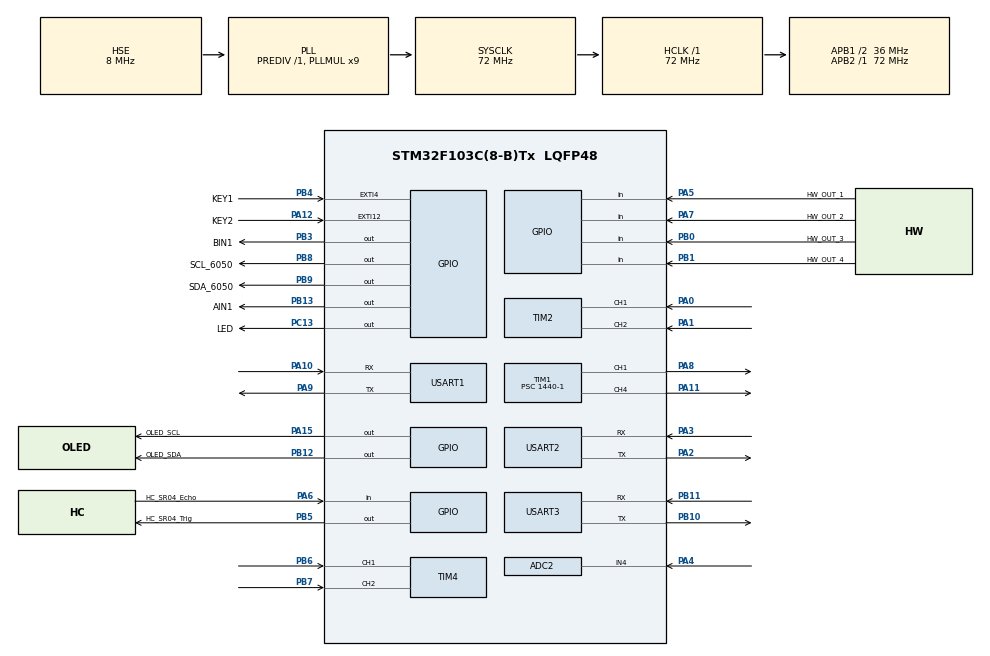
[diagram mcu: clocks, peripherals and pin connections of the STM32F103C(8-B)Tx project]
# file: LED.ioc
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ADC2.Channel-0\#ChannelRegularConversion=ADC_CHANNEL_4
ADC2.NbrOfConversionFlag=1
ADC2.Rank-0\#ChannelRegularConversion=1
ADC2.SamplingTime-0\#ChannelRegularConversion=ADC_SAMPLETIME_13CYCLES_5
Mcu.Family=STM32F1
Mcu.Name=STM32F103C(8-B)Tx
Mcu.Package=LQFP48
NVIC.EXTI15_10_IRQn=true\:2\:0\:true\:false\:true\:true\:true\:true
NVIC.EXTI4_IRQn=true\:2\:0\:true\:false\:true\:true\:true\:true
NVIC.PriorityGroup=NVIC_PRIORITYGROUP_4
NVIC.TIM1_UP_IRQn=true\:0\:0\:false\:false\:true\:true\:true\:true
NVIC.TIM2_IRQn=true\:0\:0\:false\:false\:true\:true\:true\:true
NVIC.TIM4_IRQn=true\:0\:0\:false\:false\:true\:true\:true\:true
NVIC.USART1_IRQn=true\:0\:0\:false\:false\:true\:true\:true\:true
NVIC.USART2_IRQn=true\:0\:0\:false\:false\:true\:true\:true\:true
NVIC.USART3_IRQn=true\:0\:0\:false\:false\:true\:true\:true\:true
PA0-WKUP.GPIO_PuPd=GPIO_PULLUP
PA0-WKUP.Signal=S_TIM2_CH1_ETR
PA1.GPIO_PuPd=GPIO_PULLUP
PA1.Signal=S_TIM2_CH2
PA10.Mode=Asynchronous
PA10.Signal=USART1_RX
PA11.Signal=S_TIM1_CH4
PA12.GPIO_Label=KEY2
PA12.GPIO_ModeDefaultEXTI=GPIO_MODE_IT_FALLING
PA12.GPIO_PuPd=GPIO_PULLUP
PA12.Signal=GPXTI12
PA13.Mode=Serial_Wire
PA13.Signal=SYS_JTMS-SWDIO
PA14.Mode=Serial_Wire
PA14.Signal=SYS_JTCK-SWCLK
PA15.GPIO_Label=OLED_SCL
PA15.GPIO_PuPd=GPIO_PULLUP
PA15.PinState=GPIO_PIN_SET
PA15.Signal=GPIO_Output
PA2.Mode=Asynchronous
PA2.Signal=USART2_TX
PA3.Mode=Asynchronous
PA3.Signal=USART2_RX
PA4.Signal=ADCx_IN4
PA5.GPIO_Label=HW_OUT_1
PA5.Signal=GPIO_Input
PA6.GPIO_Label=HC_SR04_Echo
PA6.Signal=GPIO_Input
PA7.GPIO_Label=HW_OUT_2
PA7.Signal=GPIO_Input
PA8.Signal=S_TIM1_CH1
PA9.Mode=Asynchronous
PA9.Signal=USART1_TX
PB0.GPIO_Label=HW_OUT_3
PB0.Signal=GPIO_Input
PB1.GPIO_Label=HW_OUT_4
PB1.Signal=GPIO_Input
PB10.Mode=Asynchronous
PB10.Signal=USART3_TX
PB11.Mode=Asynchronous
PB11.Signal=USART3_RX
PB12.GPIO_Label=OLED_SDA
PB12.GPIO_PuPd=GPIO_PULLUP
PB12.PinState=GPIO_PIN_SET
PB12.Signal=GPIO_Output
PB13.GPIO_Label=AIN1
PB13.Signal=GPIO_Output
PB3.GPIO_Label=BIN1
PB3.Signal=GPIO_Output
PB4.GPIO_Label=KEY1
PB4.GPIO_ModeDefaultEXTI=GPIO_MODE_IT_RISING
PB4.GPIO_PuPd=GPIO_PULLDOWN
PB4.Signal=GPXTI4
PB5.GPIO_Label=HC_SR04_Trig
PB5.Signal=GPIO_Output
PB6.GPIO_PuPd=GPIO_PULLUP
PB6.Signal=S_TIM4_CH1
PB7.GPIO_PuPd=GPIO_PULLUP
PB7.Signal=S_TIM4_CH2
PB8.GPIO_Label=SCL_6050
PB8.PinState=GPIO_PIN_SET
PB8.Signal=GPIO_Output
PB9.GPIO_Label=SDA_6050
PB9.PinState=GPIO_PIN_SET
PB9.Signal=GPIO_Output
PC13-TAMPER-RTC.GPIO_Label=LED
PC13-TAMPER-RTC.Signal=GPIO_Output
PD0-OSC_IN.Mode=HSE-External-Oscillator
PD0-OSC_IN.Signal=RCC_OSC_IN
PD1-OSC_OUT.Mode=HSE-External-Oscillator
PD1-OSC_OUT.Signal=RCC_OSC_OUT
ProjectManager.HeapSize=0x800
ProjectManager.StackSize=0x800
ProjectManager.TargetToolchain=MDK-ARM V5.32
RCC.ADCPresc=RCC_ADCPCLK2_DIV6
RCC.AHBFreq_Value=72000000
RCC.APB1CLKDivider=RCC_HCLK_DIV2
RCC.APB1Freq_Value=36000000
RCC.APB1TimFreq_Value=72000000
RCC.APB2Freq_Value=72000000
RCC.APB2TimFreq_Value=72000000
RCC.HCLKFreq_Value=72000000
RCC.PLLMUL=RCC_PLL_MUL9
RCC.PLLSourceVirtual=RCC_PLLSOURCE_HSE
RCC.SYSCLKFreq_VALUE=72000000
RCC.SYSCLKSource=RCC_SYSCLKSOURCE_PLLCLK
RCC.USBFreq_Value=72000000
SH.ADCx_IN4.0=ADC2_IN4,IN4
SH.S_TIM1_CH1.0=TIM1_CH1,PWM Generation1 CH1
SH.S_TIM1_CH4.0=TIM1_CH4,PWM Generation4 CH4
SH.S_TIM2_CH1_ETR.0=TIM2_CH1,Encoder_Interface
SH.S_TIM2_CH2.0=TIM2_CH2,Encoder_Interface
SH.S_TIM4_CH1.0=TIM4_CH1,Encoder_Interface
SH.S_TIM4_CH2.0=TIM4_CH2,Encoder_Interface
TIM1.AutoReloadPreload=TIM_AUTORELOAD_PRELOAD_ENABLE
TIM1.Channel-PWM\ Generation1\ CH1=TIM_CHANNEL_1
TIM1.Channel-PWM\ Generation4\ CH4=TIM_CHANNEL_4
TIM1.Period=100-1
TIM1.Prescaler=1440-1
TIM1.Pulse-PWM\ Generation1\ CH1=50
TIM1.Pulse-PWM\ Generation4\ CH4=50
TIM2.EncoderMode=TIM_ENCODERMODE_TI12
TIM2.IC1Filter=6
TIM2.IC2Filter=6
TIM4.EncoderMode=TIM_ENCODERMODE_TI12
TIM4.IC1Filter=6
TIM4.IC2Filter=6
USART1.VirtualMode=VM_ASYNC
USART2.VirtualMode=VM_ASYNC
USART3.VirtualMode=VM_ASYNC
VP_TIM1_VS_ClockSourceINT.Mode=Internal
board=custom

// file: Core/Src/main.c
/* USER CODE BEGIN Header */
/**
  ******************************************************************************
  * @file           : main.c
  * @brief          : Main program body
  ******************************************************************************
  * @attention
  *
  * Copyright (c) 2022 STMicroelectronics.
  * All rights reserved.
  *
  * This software is licensed under terms that can be found in the LICENSE file
  * in the root directory of this software component.
  * If no LICENSE file comes with this software, it is provided AS-IS.
  *
  ******************************************************************************
  */
/**
  ******************************************************************************
  * 作者:好家伙VCC
  * 联系方式:1930299709@qq.com
  * 软件版本:V3.3.0
  *	使用硬件版本:V3.3.0
  *
  ******************************************************************************
  * 更新日志:
  *
  *
  *
  ******************************************************************************
  */
/* USER CODE END Header */
#include "main.h"
#include "adc.h"
#include "tim.h"
#include "usart.h"
#include "gpio.h"

/* USER CODE BEGIN Includes */
#include "oled.h"
#include "stdio.h"
#include "motor.h"
#include "niming.h"
#include "pid.h"

#include "cJSON.h"
#include <string.h>
#include "HC_SR04.h"

#include "mpu6050.h"
#include "inv_mpu.h"
#include "inv_mpu_dmp_motion_driver.h"
/* USER CODE END Includes */

/* USER CODE BEGIN PM */
extern float Motor1Speed ;//声明电机1速度
extern float Motor2Speed ;//声明电机2速度

extern tPid pidMotor1Speed;//声明电机1PID速度控制结构体类型变量
extern tPid pidMotor2Speed;
extern tPid pidFollow;    //定距离跟随PID
extern tPid pidMPU6050YawMovement;  //利用6050偏航角 进行姿态控制的PID
extern uint8_t Usart1_ReadBuf[255];	//串口1 缓冲数组
float p,i,d,a,b;//使用JSON时候使用的变量
uint8_t OledString[50];//OLED显示使用的字符串数组
extern float Mileage;//里程数

extern tPid pidHW_Tracking;//红外循迹的PID
extern tPid pidOpenmv_Tracking;//摄像头的PID

uint8_t g_ucaHW_Read[4] = {0};//保存红外对管电平的数组
int8_t g_cThisState = 0;//这次状态
int8_t g_cLastState = 0; //上次状态
float g_fHW_PID_Out;//红外对管PID计算输出速度
float g_fHW_PID_Out1;//电机1的最后循迹PID控制速度
float g_fHW_PID_Out2;//电机2的最后循迹PID控制速度

uint8_t g_ucUsart3ReceiveData;  //保存串口三接收的数据
uint8_t g_ucUsart2ReceiveData;  //保存串口二接收的数据

uint8_t Usart3String[50];//串口三输出字符串使用的字符串数组
float g_fHC_SR04_Read;//超声波传感器读取障碍物数据
float g_fFollow_PID_Out;//定距离跟随PID计算输出速度

float pitch,roll,yaw; //俯仰角 横滚角 航向角

float  g_fMPU6050YawMovePidOut = 0.00f; //姿态PID运算输出
float  g_fMPU6050YawMovePidOut1 = 0.00f; //第一个电机控制输出
float  g_fMPU6050YawMovePidOut2 = 0.00f; //第一个电机控制输出

uint8_t g_ucMode = 0;

extern int g_lHW_State;//帮助视觉调试 用于表示红外对管或者视觉摄像头识别状态

//小车运动模式标志位 0:显示功能、1:PID循迹模式、2:手机遥控普通运动模式、3.超声波避障模式、4:PID跟随模式、5:遥控角度闭环
/* USER CODE END PM */

void SystemClock_Config(void);

int main(void)
{

  /* MCU Configuration--------------------------------------------------------*/

  /* Reset of all peripherals, Initializes the Flash interface and the Systick. */
  HAL_Init();

  /* Configure the system clock */
  SystemClock_Config();

  /* Initialize all configured peripherals */
  MX_GPIO_Init();
  MX_USART1_UART_Init();
  MX_TIM1_Init();
  MX_TIM2_Init();
  MX_TIM4_Init();
  MX_ADC2_Init();
  MX_USART3_UART_Init();
  MX_USART2_UART_Init();
  /* USER CODE BEGIN 2 */
  OLED_Init();			//初始化OLED
  OLED_Clear()  	;
  HAL_TIM_PWM_Start(&htim1,TIM_CHANNEL_1);//开启定时器1 通道1 PWM输出
  HAL_TIM_PWM_Start(&htim1,TIM_CHANNEL_4);//开启定时器1 通道4 PWM输出
  HAL_TIM_Encoder_Start(&htim2,TIM_CHANNEL_ALL);//开启定时器2
  HAL_TIM_Encoder_Start(&htim4,TIM_CHANNEL_ALL);//开启定时器4
  HAL_TIM_Base_Start_IT(&htim2);				//开启定时器2 中断
  HAL_TIM_Base_Start_IT(&htim4);                //开启定时器4 中断

  HAL_TIM_Base_Start_IT(&htim1);                //开启定时器1 中断
  __HAL_UART_ENABLE_IT(&huart1,UART_IT_RXNE);	//开启串口1接收中断
  PID_init();//PID参数初始化
  HAL_UART_Receive_IT(&huart3,&g_ucUsart3ReceiveData,1);  //串口三接收数据

  HAL_UART_Receive_IT(&huart2,&g_ucUsart2ReceiveData,1);  //串口二接收数据

  HAL_Delay(500);//延时0.5秒 6050上电稳定后初始化

  MPU_Init(); //初始化MPU6050

  __HAL_UART_ENABLE_IT(&huart2, UART_IT_ERR);// 启用UART2的错误中断功能

//  while(MPU_Init()!=0);//初始化MPU6050模块的MPU 注意初始化阶段不要移动小车
//  while(mpu_dmp_init()!=0);//mpu6050,dmp初始化

//  cJSON *cJsonData ,*cJsonVlaue;
  /* USER CODE END 2 */

  /* Infinite loop */
  while (1)
  {

    /* USER CODE BEGIN 3 */
	sprintf((char *)OledString," g_ucMode:%d",g_ucMode);//显示g_ucMode 当前模式
	OLED_ShowString(0,6,OledString,12);	//显示在OLED上

	sprintf((char *)Usart3String," g_ucMode:%d",g_ucMode);//蓝牙APP显示
	HAL_UART_Transmit(&huart3,( uint8_t *)Usart3String,strlen(( const  char  *)Usart3String),50);//阻塞式发送通过串口三输出字符 strlen:计算字符串大小

	if(g_ucMode == 0)
	{
	//0LED显示功能
		sprintf((char*)OledString, "V1:%.2fV2:%.2f", Motor1Speed,Motor2Speed);//显示速度
		OLED_ShowString(0,0,OledString,12);//这个是oled驱动里面的，是显示位置的一个函数，

		sprintf((char*)OledString, "Mileage:%.2f", Mileage);//显示里程
		OLED_ShowString(0,1,OledString,12);//这个是oled驱动里面的，是显示位置的一个函数，

		sprintf((char*)OledString, "U:%.2fV", adcGetBatteryVoltage());//显示电池电压
		OLED_ShowString(0,2,OledString,12);//这个是oled驱动里面的，是显示位置的一个函数，

		sprintf((char *)OledString,"HC_SR04:%.2fcm\r\n",HC_SR04_Read());//显示超声波数据
		OLED_ShowString(0,3,OledString,12);//这个是oled驱动里面的，是显示位置的一个函数，

		sprintf((char *)OledString,"p:%.2f r:%.2f \r\n",pitch,roll);//显示6050数据 俯仰角 横滚角
		OLED_ShowString(0,4,OledString,12);//这个是oled驱动里面的，是显示位置的一个函数，

		sprintf((char *)OledString,"y:%.2f  \r\n",yaw);//显示6050数据  航向角
		OLED_ShowString(0,5,OledString,12);//这个是oled驱动里面的，是显示位置的一个函数，

	//蓝牙APP显示
		sprintf((char*)Usart3String, "V1:%.2fV2:%.2f", Motor1Speed,Motor2Speed);//显示速度
		HAL_UART_Transmit(&huart3,( uint8_t *)Usart3String,strlen(( const  char  *)Usart3String),50);//阻塞式发送通过串口三输出字符 strlen:计算字符串大小
		//阻塞方式发送可以保证数据发送完毕，中断发送不一定可以保证数据已经发送完毕才启动下一次发送
		sprintf((char*)Usart3String, "Mileage:%.2f", Mileage);//显示里程
		HAL_UART_Transmit(&huart3,( uint8_t *)Usart3String,strlen(( const  char  *)Usart3String),50);//阻塞式发送通过串口三输出字符 strlen:计算字符串大小

		sprintf((char*)Usart3String, "U:%.2fV", adcGetBatteryVoltage());//显示电池电压
		HAL_UART_Transmit(&huart3,( uint8_t *)Usart3String,strlen(( const  char  *)Usart3String),50);//阻塞式发送通过串口三输出字符 strlen:计算字符串大小

		sprintf((char *)Usart3String,"HC_SR04:%.2fcm\r\n",HC_SR04_Read());//显示超声波数据
		HAL_UART_Transmit(&huart3,( uint8_t *)Usart3String,strlen(( const  char  *)Usart3String),50);//阻塞式发送通过串口三输出字符 strlen:计算字符串大小

		sprintf((char *)Usart3String,"p:%.2f r:%.2f \r\n",pitch,roll);//显示6050数据 俯仰角 横滚角
		HAL_UART_Transmit(&huart3,( uint8_t *)Usart3String,strlen(( const  char  *)Usart3String),50);//阻塞式发送通过串口三输出字符 strlen:计算字符串大小

		sprintf((char *)Usart3String,"y:%.2f  \r\n",yaw);//显示6050数据  航向角
		HAL_UART_Transmit(&huart3,( uint8_t *)Usart3String,strlen(( const  char  *)Usart3String),50);//阻塞式发送通过串口三输出字符 strlen:计算字符串大小

		//获得6050数据
//		while(mpu_dmp_get_data(&pitch,&roll,&yaw)!=0){}  //这个可以解决经常读不出数据的问题

		//在显示模式电机停转 设置小车速度为0
		motorPidSetSpeed(0,0);
	}
	if(g_ucMode == 1)
	{
	///****    红外PID循迹功能******************/
	g_ucaHW_Read[0] = READ_HW_OUT_1;//读取红外对管状态、这样相比于写在if里面更高效
	g_ucaHW_Read[1] = READ_HW_OUT_2;
	g_ucaHW_Read[2] = READ_HW_OUT_3;
	g_ucaHW_Read[3] = READ_HW_OUT_4;

	if(g_ucaHW_Read[0] == 0&&g_ucaHW_Read[1] == 0&&g_ucaHW_Read[2] == 0&&g_ucaHW_Read[3] == 0 )
	{
//		printf("应该前进\r\n");//注释掉更加高效，减少无必要程序执行
		g_cThisState = 0;//前进
	}
	else if(g_ucaHW_Read[0] == 0&&g_ucaHW_Read[1] == 1&&g_ucaHW_Read[2] == 0&&g_ucaHW_Read[3] == 0 )//使用else if更加合理高效
	{
//		printf("应该右转\r\n");
		g_cThisState = -1;//应该右转
	}
	else if(g_ucaHW_Read[0] == 1&&g_ucaHW_Read[1] == 0&&g_ucaHW_Read[2] == 0&&g_ucaHW_Read[3] == 0 )
	{
//		printf("快速右转\r\n");
		g_cThisState = -2;//快速右转
	}
	else if(g_ucaHW_Read[0] == 1&&g_ucaHW_Read[1] == 1&&g_ucaHW_Read[2] == 0&&g_ucaHW_Read[3] == 0)
	{
//		printf("快速右转\r\n");
		g_cThisState = -3;//快速右转
	}
	else if(g_ucaHW_Read[0] == 0&&g_ucaHW_Read[1] == 0&&g_ucaHW_Read[2] == 1&&g_ucaHW_Read[3] == 0 )
	{
//		printf("应该左转\r\n");
		g_cThisState = 1;//应该左转
	}
	else if(g_ucaHW_Read[0] == 0&&g_ucaHW_Read[1] == 0&&g_ucaHW_Read[2] == 0&&g_ucaHW_Read[3] == 1 )
	{
//		printf("快速左转\r\n");
		g_cThisState = 2;//快速左转
	}
	else if(g_ucaHW_Read[0] == 0&&g_ucaHW_Read[1] == 0&&g_ucaHW_Read[2] == 1&&g_ucaHW_Read[3] == 1)
	{
//	    printf("快速左转\r\n");
		g_cThisState = 3;//快速左转
	}
	g_fHW_PID_Out = PID_realize(&pidHW_Tracking,g_cThisState);//PID计算输出目标速度 这个速度，会和基础速度加减

	g_fHW_PID_Out1 = 3 + g_fHW_PID_Out;//电机1速度=基础速度+循迹PID输出速度
	g_fHW_PID_Out2 = 3 - g_fHW_PID_Out;//电机1速度=基础速度-循迹PID输出速度
	if(g_fHW_PID_Out1 >5) g_fHW_PID_Out1 =5;//进行限幅 限幅速度在0-5之间
	if(g_fHW_PID_Out1 <0) g_fHW_PID_Out1 =0;
	if(g_fHW_PID_Out2 >5) g_fHW_PID_Out2 =5;//进行限幅 限幅速度在0-5之间
	if(g_fHW_PID_Out2 <0) g_fHW_PID_Out2 =0;
	if(g_cThisState != g_cLastState)//如何这次状态不等于上次状态、就进行改变目标速度和控制电机、在定时器中依旧定时控制电机
	{
		motorPidSetSpeed(g_fHW_PID_Out1,g_fHW_PID_Out2);//通过计算的速度控制电机
	}

	g_cLastState = g_cThisState;//保存上次红外对管状态

	}
	if(g_ucMode == 2)
	{

		//***************遥控模式***********************//
		//遥控模式的控制在串口三的中断里面
	}
	if(g_ucMode == 3)
	{
		//******超声波避障模式*********************//
////避障逻辑
		if(HC_SR04_Read() > 25)//前方无障碍物
		{
			motorPidSetSpeed(1,1);//前运动
			HAL_Delay(100);
		}
		else{	//前方有障碍物
			motorPidSetSpeed(-1,1);//右边运动 原地
			HAL_Delay(500);
			if(HC_SR04_Read() > 25)//右边无障碍物
			{
				motorPidSetSpeed(1,1);//前运动
				HAL_Delay(100);
			}
			else{//右边有障碍物
				motorPidSetSpeed(1,-1);//左边运动 原地
				HAL_Delay(1000);
				if(HC_SR04_Read() >25)//左边无障碍物
				{
					 motorPidSetSpeed(1,1);//前运动
					HAL_Delay(100);
				}
				else{
					motorPidSetSpeed(-1,-1);//后运动
					HAL_Delay(1000);
					motorPidSetSpeed(-1,1);//右边运动
					HAL_Delay(50);
				}
			}
		}
	}
	if(g_ucMode == 4)
	{
	//**********PID跟随功能***********//
		g_fHC_SR04_Read=HC_SR04_Read();//读取前方障碍物距离
		if(g_fHC_SR04_Read < 60){  //如果前60cm 有东西就启动跟随
			g_fFollow_PID_Out = PID_realize(&pidFollow,g_fHC_SR04_Read);//PID计算输出目标速度 这个速度，会和基础速度加减
			if(g_fFollow_PID_Out > 6) g_fFollow_PID_Out = 6;//对输出速度限幅
			if(g_fFollow_PID_Out < -6) g_fFollow_PID_Out = -6;
			motorPidSetSpeed(g_fFollow_PID_Out,g_fFollow_PID_Out);//速度作用与电机上
		}
		else motorPidSetSpeed(0,0);//如果前面60cm 没有东西就停止
		HAL_Delay(10);//读取超声波传感器不能过快
	}
	if(g_ucMode == 5)
	{
	//*************MPU6050航向角 PID转向控制*****************//

		sprintf((char *)Usart3String,"pitch:%.2f roll:%.2f yaw:%.2f\r\n",pitch,roll,yaw);//显示6050数据 俯仰角 横滚角 航向角
		HAL_UART_Transmit(&huart3,( uint8_t *)Usart3String,strlen(( const  char  *)Usart3String),0xFFFF);//通过串口三输出字符 strlen:计算字符串大小

//	    mpu_dmp_get_data(&pitch,&roll,&yaw);//返回值:0,DMP成功解出欧拉角
//		while(mpu_dmp_get_data(&pitch,&roll,&yaw)!=0){}  //这个可以解决经常读不出数据的问题

		g_fMPU6050YawMovePidOut = PID_realize(&pidMPU6050YawMovement,yaw);//PID计算输出目标速度 这个速度，会和基础速度加减

		g_fMPU6050YawMovePidOut1 = 1.5 + g_fMPU6050YawMovePidOut;//基础速度加减PID输出速度
		g_fMPU6050YawMovePidOut2 = 1.5 - g_fMPU6050YawMovePidOut;
		if(g_fMPU6050YawMovePidOut1 >3.5) g_fMPU6050YawMovePidOut1 =3.5;//进行限幅
		if(g_fMPU6050YawMovePidOut1 <0) g_fMPU6050YawMovePidOut1 =0;
		if(g_fMPU6050YawMovePidOut2 >3.5) g_fMPU6050YawMovePidOut2 =3.5;//进行限幅
		if(g_fMPU6050YawMovePidOut2 <0) g_fMPU6050YawMovePidOut2 =0;
		motorPidSetSpeed(g_fMPU6050YawMovePidOut1,g_fMPU6050YawMovePidOut2);//将最后计算的目标速度 通过motorPidSetSpeed控制电机

	}
	if(g_ucMode == 6)
	{

		sprintf((char*)OledString, "lHW:%d  ", g_lHW_State);//视觉识别结果
		OLED_ShowString(0,0,OledString,12);//这个是oled驱动里面的，是显示位置的一个函数，

		g_fHW_PID_Out = PID_realize(&pidOpenmv_Tracking,g_cThisState);//PID计算输出目标速度 这个速度，会和基础速度加减

		g_fHW_PID_Out1 = 0.5 + g_fHW_PID_Out;//电机1速度=基础速度+循迹PID输出速度
		g_fHW_PID_Out2 = 0.5 - g_fHW_PID_Out;//电机1速度=基础速度-循迹PID输出速度
		if(g_fHW_PID_Out1 >1.2) g_fHW_PID_Out1 =1.2;//进行限幅 限幅速度在0-1.2之间
		if(g_fHW_PID_Out1 <0) g_fHW_PID_Out1 =0;
		if(g_fHW_PID_Out2 >1.2) g_fHW_PID_Out2 =1.2;//进行限幅 限幅速度在0-1.2之间
		if(g_fHW_PID_Out2 <0) g_fHW_PID_Out2 =0;
		if(g_cThisState != g_cLastState)//如何这次状态不等于上次状态、就进行改变目标速度和控制电机、在定时器中依旧定时控制电机
		{
			motorPidSetSpeed(g_fHW_PID_Out1,g_fHW_PID_Out2);//通过计算的速度控制电机
		}

		g_cLastState = g_cThisState;//保存上次红外对管状态

	}

   }

///****    红外PID循迹功能******************/
//	g_ucaHW_Read[0] = READ_HW_OUT_1;//读取红外对管状态、这样相比于写在if里面更高效
//	g_ucaHW_Read[1] = READ_HW_OUT_2;
//	g_ucaHW_Read[2] = READ_HW_OUT_3;
//	g_ucaHW_Read[3] = READ_HW_OUT_4;

//	if(g_ucaHW_Read[0] == 0&&g_ucaHW_Read[1] == 0&&g_ucaHW_Read[2] == 0&&g_ucaHW_Read[3] == 0 )
//	{
////		printf("应该前进\r\n");//注释掉更加高效，减少无必要程序执行
//		g_cThisState = 0;//前进
//	}
//	else if(g_ucaHW_Read[0] == 0&&g_ucaHW_Read[1] == 1&&g_ucaHW_Read[2] == 0&&g_ucaHW_Read[3] == 0 )//使用else if更加合理高效
//	{
////		printf("应该右转\r\n");
//		g_cThisState = -1;//应该右转
//	}
//	else if(g_ucaHW_Read[0] == 1&&g_ucaHW_Read[1] == 0&&g_ucaHW_Read[2] == 0&&g_ucaHW_Read[3] == 0 )
//	{
////		printf("快速右转\r\n");
//		g_cThisState = -2;//快速右转
//	}
//	else if(g_ucaHW_Read[0] == 1&&g_ucaHW_Read[1] == 1&&g_ucaHW_Read[2] == 0&&g_ucaHW_Read[3] == 0)
//	{
////		printf("快速右转\r\n");
//		g_cThisState = -3;//快速右转
//	}
//	else if(g_ucaHW_Read[0] == 0&&g_ucaHW_Read[1] == 0&&g_ucaHW_Read[2] == 1&&g_ucaHW_Read[3] == 0 )
//	{
////		printf("应该左转\r\n");
//		g_cThisState = 1;//应该左转
//	}
//	else if(g_ucaHW_Read[0] == 0&&g_ucaHW_Read[1] == 0&&g_ucaHW_Read[2] == 0&&g_ucaHW_Read[3] == 1 )
//	{
////		printf("快速左转\r\n");
//		g_cThisState = 2;//快速左转
//	}
//	else if(g_ucaHW_Read[0] == 0&&g_ucaHW_Read[1] == 0&&g_ucaHW_Read[2] == 1&&g_ucaHW_Read[3] == 1)
//	{
////	    printf("快速左转\r\n");
//		g_cThisState = 3;//快速左转
//	}
//	g_fHW_PID_Out = PID_realize(&pidHW_Tracking,g_cThisState);//PID计算输出目标速度 这个速度，会和基础速度加减

//	g_fHW_PID_Out1 = 3 + g_fHW_PID_Out;//电机1速度=基础速度+循迹PID输出速度
//	g_fHW_PID_Out2 = 3 - g_fHW_PID_Out;//电机1速度=基础速度-循迹PID输出速度
//	if(g_fHW_PID_Out1 >5) g_fHW_PID_Out1 =5;//进行限幅 限幅速度在0-5之间
//	if(g_fHW_PID_Out1 <0) g_fHW_PID_Out1 =0;
//	if(g_fHW_PID_Out2 >5) g_fHW_PID_Out2 =5;
//	if(g_fHW_PID_Out2 <0) g_fHW_PID_Out2 =0;
//	if(g_cThisState != g_cLastState)//如何这次状态不等于上次状态、就进行改变目标速度和控制电机、在定时器中依旧定时控制电机
//	{
//		motorPidSetSpeed(g_fHW_PID_Out1,g_fHW_PID_Out2);//通过计算的速度控制电机
//	}
//
//	g_cLastState = g_cThisState;//保存上次红外对管状态

////通过串口三(蓝牙)输出信息
////***************串口三输出****************************//
//	sprintf((char *)Usart3String,"V1:%.2fV2:%.2f\r\n",Motor1Speed,Motor2Speed);//显示两个电机转速 单位：转/秒
//	HAL_UART_Transmit(&huart3,( uint8_t *)Usart3String,strlen(( const  char  *)Usart3String),50);//阻塞式发送通过串口三输出字符 strlen:计算字符串大小
//
//	sprintf((char *)Usart3String,"Mileage%.2f\r\n",Mileage);//计算小车里程 单位cm
//	HAL_UART_Transmit(&huart3,( uint8_t *)Usart3String,strlen(( const  char  *)Usart3String),50);//阻塞式发送通过串口三输出字符 strlen:计算字符串大小
//
//	sprintf((char *)Usart3String,"U:%.2fV\r\n",adcGetBatteryVoltage());//显示电池电压
//	HAL_UART_Transmit(&huart3,( uint8_t *)Usart3String,strlen(( const  char  *)Usart3String),50);//阻塞式发送通过串口三输出字符 strlen:计算字符串大小
//
//	sprintf((char *)Usart3String,"HC_SR04:%.2fcm\r\n",HC_SR04_Read());//显示超声波数据
//	HAL_UART_Transmit(&huart3,( uint8_t *)Usart3String,strlen(( const  char  *)Usart3String),0xFFFF);//通过串口三输出字符 strlen:计算字符串大小
//
//   	sprintf((char *)Usart3String,"pitch:%.2f roll:%.2f yaw:%.2f\r\n",pitch,roll,yaw);//显示6050数据 俯仰角 横滚角 航向角
//	HAL_UART_Transmit(&huart3,( uint8_t *)Usart3String,strlen(( const  char  *)Usart3String),0xFFFF);//通过串口三输出字符 strlen:计算字符串大小
//
//   //mpu_dmp_get_data(&pitch,&roll,&yaw);//返回值:0,DMP成功解出欧拉角
//    while(mpu_dmp_get_data(&pitch,&roll,&yaw)!=0){}  //这个可以解决经常读不出数据的问题
//
//
//	HAL_Delay(5);//注意调用不可以过于频繁HC_SR04_Read()

////*************MPU6050航向角 PID转向控制*****************//

//   	sprintf((char *)Usart3String,"pitch:%.2f roll:%.2f yaw:%.2f\r\n",pitch,roll,yaw);//显示6050数据 俯仰角 横滚角 航向角
//	HAL_UART_Transmit(&huart3,( uint8_t *)Usart3String,strlen(( const  char  *)Usart3String),0xFFFF);//通过串口三输出字符 strlen:计算字符串大小
//
//   //mpu_dmp_get_data(&pitch,&roll,&yaw);//返回值:0,DMP成功解出欧拉角
//    while(mpu_dmp_get_data(&pitch,&roll,&yaw)!=0){}  //这个可以解决经常读不出数据的问题
//
//
//	g_fMPU6050YawMovePidOut = PID_realize(&pidMPU6050YawMovement,yaw);//PID计算输出目标速度 这个速度，会和基础速度加减

//	g_fMPU6050YawMovePidOut1 = 1.5 + g_fMPU6050YawMovePidOut;//基础速度加减PID输出速度
//	g_fMPU6050YawMovePidOut2 = 1.5 - g_fMPU6050YawMovePidOut;
//	if(g_fMPU6050YawMovePidOut1 >3.5) g_fMPU6050YawMovePidOut1 =3.5;//进行限幅
//	if(g_fMPU6050YawMovePidOut1 <0) g_fMPU6050YawMovePidOut1 =0;
//	if(g_fMPU6050YawMovePidOut2 >3.5) g_fMPU6050YawMovePidOut2 =3.5;
//	if(g_fMPU6050YawMovePidOut2 <0) g_fMPU6050YawMovePidOut2 =0;
//	motorPidSetSpeed(g_fMPU6050YawMovePidOut1,g_fMPU6050YawMovePidOut2);

////**************避障功能********************//
////避障逻辑
//	if(HC_SR04_Read() > 25)//前方无障碍物
//	{
//		motorPidSetSpeed(1,1);//前运动
//		HAL_Delay(100);
//	}
//	else{	//前方有障碍物
//		motorPidSetSpeed(-1,1);//右边运动 原地
//		HAL_Delay(500);
//		if(HC_SR04_Read() > 25)//右边无障碍物
//		{
//			motorPidSetSpeed(1,1);//前运动
//			HAL_Delay(100);
//		}
//		else{//右边有障碍物
//			motorPidSetSpeed(1,-1);//左边运动 原地
//			HAL_Delay(1000);
//			if(HC_SR04_Read() >25)//左边无障碍物
//			{
//				 motorPidSetSpeed(1,1);//前运动
//				HAL_Delay(100);
//			}
//			else{
//				motorPidSetSpeed(-1,-1);//后运动
//				HAL_Delay(1000);
//				motorPidSetSpeed(-1,1);//右边运动
//				HAL_Delay(50);
//			}
//		}
//	}

////*************无PID跟随功能************//
//	if(HC_SR04_Read() > 25)
//	{
//		motorPidSetSpeed(1,1);//前运动
//		HAL_Delay(100);
//	}
//	if(HC_SR04_Read() < 20)
//	{
//		motorPidSetSpeed(-1,-1);//后运动
//		HAL_Delay(100);
//	}

////**********PID跟随功能***********//
//    g_fHC_SR04_Read=HC_SR04_Read();//读取前方障碍物距离
//	if(g_fHC_SR04_Read < 60){  //如果前60cm 有东西就启动跟随
//		g_fFollow_PID_Out = PID_realize(&pidFollow,g_fHC_SR04_Read);//PID计算输出目标速度 这个速度，会和基础速度加减
//		if(g_fFollow_PID_Out > 6) g_fFollow_PID_Out = 6;//对输出速度限幅
//		if(g_fFollow_PID_Out < -6) g_fFollow_PID_Out = -6;
//		motorPidSetSpeed(g_fFollow_PID_Out,g_fFollow_PID_Out);//速度作用与电机上
//	}
//	else motorPidSetSpeed(0,0);//如果前面60cm 没有东西就停止
//	HAL_Delay(10);//读取超声波传感器不能过快

//	ANO_DT_Send_F2(Motor1Speed*100, 3.0*100,Motor2Speed*100,3.0*100);//向匿名上位机通过F2帧发送4个int16类型的数据 曲线显示
//	if(Usart_WaitReasFinish() == 0)//是否接收完毕
//	{
//		cJsonData  = cJSON_Parse((const char *)Usart1_ReadBuf);
//		if(cJSON_GetObjectItem(cJsonData,"p") !=NULL)
//		{
//			cJsonVlaue = cJSON_GetObjectItem(cJsonData,"p");
//		    p = cJsonVlaue->valuedouble;
//			pidMotor1Speed.Kp = p;
//		}
//		if(cJSON_GetObjectItem(cJsonData,"i") !=NULL)
//		{
//			cJsonVlaue = cJSON_GetObjectItem(cJsonData,"i");
//		    i = cJsonVlaue->valuedouble;
//			pidMotor1Speed.Ki = i;
//		}
//		if(cJSON_GetObjectItem(cJsonData,"d") !=NULL)
//		{
//			cJsonVlaue = cJSON_GetObjectItem(cJsonData,"d");
//		    d = cJsonVlaue->valuedouble;
//			pidMotor1Speed.Kd = d;
//		}
//		if(cJSON_GetObjectItem(cJsonData,"a") !=NULL)
//		{
//
//			cJsonVlaue = cJSON_GetObjectItem(cJsonData,"a");
//		    a = cJsonVlaue->valuedouble;
//			pidMotor1Speed.target_val =a;
//		}
//		if(cJSON_GetObjectItem(cJsonData,"b") !=NULL)
//		{
//
//			cJsonVlaue = cJSON_GetObjectItem(cJsonData,"b");
//		    b = cJsonVlaue->valuedouble;
//			pidMotor2Speed.target_val =b;
//		}
//		if(cJsonData != NULL){
//		  cJSON_Delete(cJsonData);//释放空间、但是不能删除cJsonVlaue不然会 出现异常错误
//		}
//		memset(Usart1_ReadBuf,0,255);//清空接收buf，注意这里不能使用strlen
//	}
//	printf("P:%.3f  I:%.3f  D:%.3f A:%.3f\r\n",p,i,d,a);

//	__HAL_TIM_SET_COMPARE(&htim1, TIM_CHANNEL_1, 10);
//	__HAL_TIM_SET_COMPARE(&htim1, TIM_CHANNEL_4, 10);
//	HAL_GPIO_WritePin(BIN1_GPIO_Port,BIN1_Pin,GPIO_PIN_SET);
//	HAL_GPIO_WritePin(AIN1_GPIO_Port,AIN1_Pin,GPIO_PIN_SET);

//	uint8_t c_Data[] = "串口输出测试:好家伙VCC\r\n";
//	HAL_UART_Transmit(&huart1,c_Data,sizeof(c_Data),0xFFFF);
//	HAL_Delay(1000);
//	printf("printf:好家伙VCC测试\r\n");
//	HAL_GPIO_TogglePin(LED_GPIO_Port,LED_Pin);
//	HAL_Delay(500);
  /* USER CODE END 3 */
}

void SystemClock_Config(void)
{
  RCC_OscInitTypeDef RCC_OscInitStruct = {0};
  RCC_ClkInitTypeDef RCC_ClkInitStruct = {0};
  RCC_PeriphCLKInitTypeDef PeriphClkInit = {0};

  /** Initializes the RCC Oscillators according to the specified parameters
  * in the RCC_OscInitTypeDef structure.
  */
  RCC_OscInitStruct.OscillatorType = RCC_OSCILLATORTYPE_HSE;
  RCC_OscInitStruct.HSEState = RCC_HSE_ON;
  RCC_OscInitStruct.HSEPredivValue = RCC_HSE_PREDIV_DIV1;
  RCC_OscInitStruct.HSIState = RCC_HSI_ON;
  RCC_OscInitStruct.PLL.PLLState = RCC_PLL_ON;
  RCC_OscInitStruct.PLL.PLLSource = RCC_PLLSOURCE_HSE;
  RCC_OscInitStruct.PLL.PLLMUL = RCC_PLL_MUL9;
  if (HAL_RCC_OscConfig(&RCC_OscInitStruct) != HAL_OK)
  {
    Error_Handler();
  }

  /** Initializes the CPU, AHB and APB buses clocks
  */
  RCC_ClkInitStruct.ClockType = RCC_CLOCKTYPE_HCLK|RCC_CLOCKTYPE_SYSCLK
                              |RCC_CLOCKTYPE_PCLK1|RCC_CLOCKTYPE_PCLK2;
  RCC_ClkInitStruct.SYSCLKSource = RCC_SYSCLKSOURCE_PLLCLK;
  RCC_ClkInitStruct.AHBCLKDivider = RCC_SYSCLK_DIV1;
  RCC_ClkInitStruct.APB1CLKDivider = RCC_HCLK_DIV2;
  RCC_ClkInitStruct.APB2CLKDivider = RCC_HCLK_DIV1;

  if (HAL_RCC_ClockConfig(&RCC_ClkInitStruct, FLASH_LATENCY_2) != HAL_OK)
  {
    Error_Handler();
  }
  PeriphClkInit.PeriphClockSelection = RCC_PERIPHCLK_ADC;
  PeriphClkInit.AdcClockSelection = RCC_ADCPCLK2_DIV6;
  if (HAL_RCCEx_PeriphCLKConfig(&PeriphClkInit) != HAL_OK)
  {
    Error_Handler();
  }
}

void Error_Handler(void)
{
  __disable_irq();
  while (1)
  {
  }
}
